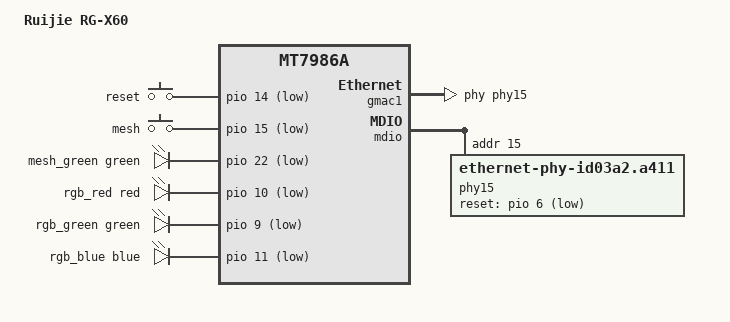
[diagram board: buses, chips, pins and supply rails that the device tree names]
// SPDX-License-Identifier: (GPL-2.0 OR MIT)
/*
 * Author: Developer X <dev@x-wrt.com>
 */

/dts-v1/;
#include "mt7986a-ruijie-rg-x60-pro.dts"

/ {
	compatible = "ruijie,rg-x60", "mediatek,mt7986a";
	model = "Ruijie RG-X60";

	aliases {
		led-boot = &rgb_red;
		led-failsafe = &rgb_red;
		led-running = &rgb_green;
		led-upgrade = &rgb_red;
	};

	gpio-keys {
		compatible = "gpio-keys";

		button-0 {
			label = "reset";
			gpios = <&pio 14 GPIO_ACTIVE_LOW>;
			linux,code = <KEY_RESTART>;
		};

		button-1 {
			label = "mesh";
			gpios = <&pio 15 GPIO_ACTIVE_LOW>;
			linux,code = <BTN_MISC>;
		};
	};

	leds-gpio {
		compatible = "gpio-leds";

		mesh_green: led-0 {
			color = <LED_COLOR_ID_GREEN>;
			function = LED_FUNCTION_WPS;
			gpios = <&pio 22 GPIO_ACTIVE_LOW>;
		};

		rgb_red: led-1 {
			color = <LED_COLOR_ID_RED>;
			function = LED_FUNCTION_STATUS;
			gpios = <&pio 10 GPIO_ACTIVE_LOW>;
		};

		rgb_green: led-2 {
			color = <LED_COLOR_ID_GREEN>;
			function = LED_FUNCTION_STATUS;
			gpios = <&pio 9 GPIO_ACTIVE_LOW>;
		};

		rgb_blue: led-3 {
			color = <LED_COLOR_ID_BLUE>;
			function = LED_FUNCTION_STATUS;
			gpios = <&pio 11 GPIO_ACTIVE_LOW>;
		};
	};
};

&gmac1 {
	phy-handle = <&phy15>;
};

&mdio {
	/delete-node/ phy@7;

	phy15: phy@15 {
		compatible = "ethernet-phy-id03a2.a411";
		reg = <15>;
		reset-assert-us = <100000>;
		reset-deassert-us = <100000>;
		reset-gpios = <&pio 6 GPIO_ACTIVE_LOW>;
		airoha,polarity = <1>;
		airoha,surge = <0>;
		airoha,phy-handle;
	};
};

&switch {
	ports {
		/delete-node/ port@0;
	};

	mdio {
		/delete-node/ phy@0;
	};
};
